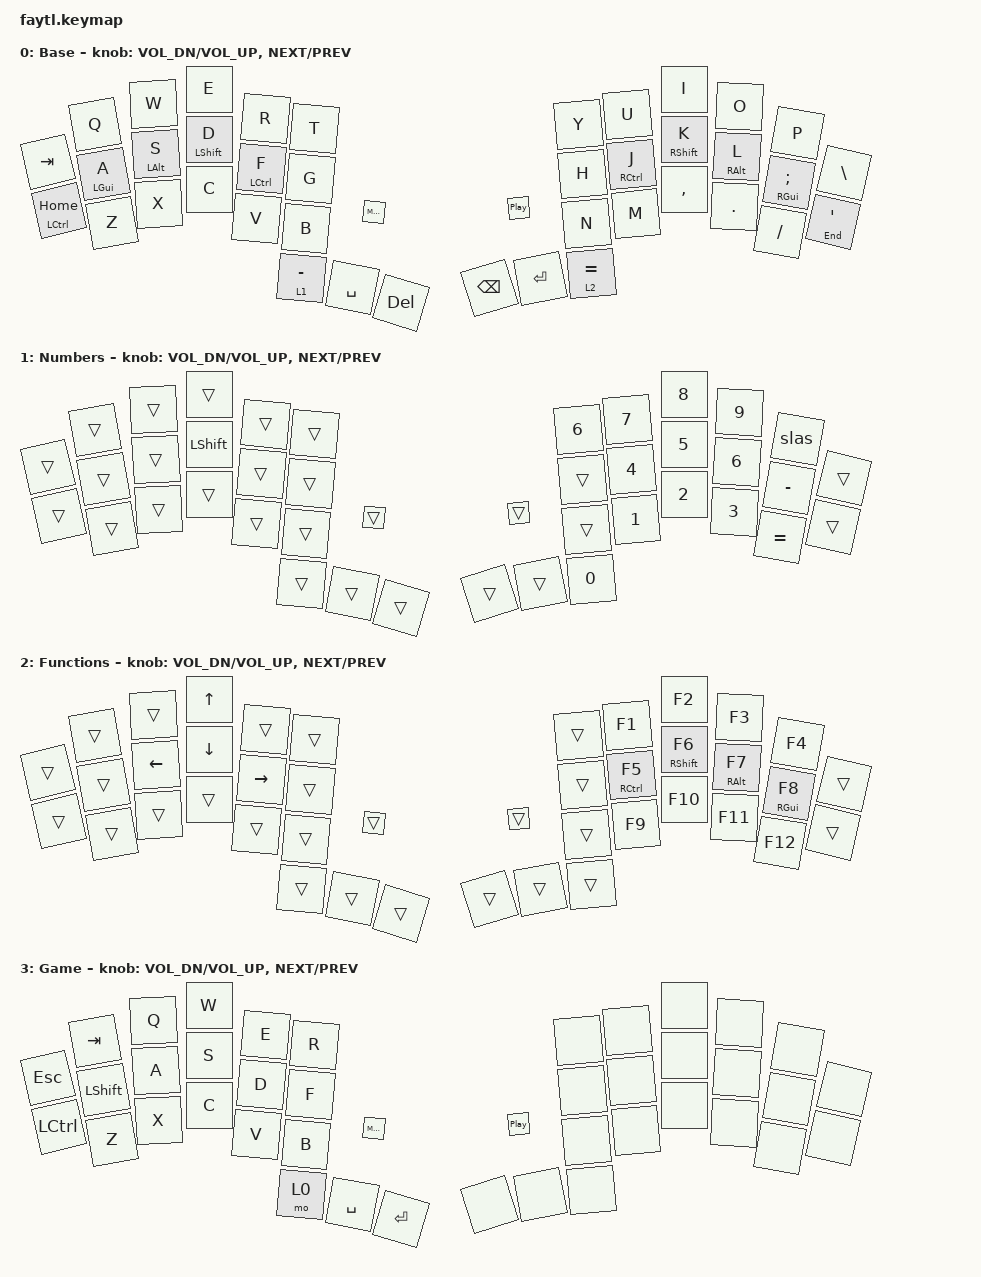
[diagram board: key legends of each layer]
// This file was generated from a template. Edit it to match your keyboard.
// See https://zmk.dev/docs/development/hardware-integration/new-shield for more instructions.

#include <behaviors.dtsi>
#include <dt-bindings/zmk/keys.h>

/ {
    behaviors {
        // set up home row mods
        hml: home_row_mod_left {
            compatible = "zmk,behavior-hold-tap";
            #binding-cells = <2>;
            flavor = "balances";
            require-prior-idle-ms = <150>;
            tapping-term-ms = <280>;
            quick-tap-ms = <175>;
            bindings = <&kp>, <&kp>;
            hold-trigger-key-positions = <6 7 8 9 10 17 18 19 20 21 22 30 31 32 33 34 35 36 40 41 42>; // List of keys on the right side of the keyboard
            hold-trigger-on-release;
        };
        hmr: home_row_mod_right {
            compatible = "zmk,behavior-hold-tap";
            #binding-cells = <2>;
            flavor = "balanced";
            require-prior-idle-ms = <150>;
            tapping-term-ms = <280>;
            quick-tap-ms = <175>;
            bindings = <&kp>, <&kp>;
            hold-trigger-key-positions = <1 2 3 4 5 11 12 13 14 15 16 23 24 25 26 27 28 29 37 38 39>; // List of keys on the left side of the keyboard
            hold-trigger-on-release;
        };
        // Create a / shift to *
        slas: slash_asterisk {
            compatible = "zmk,behavior-mod-morph";
            #binding-cells = <0>;
            bindings = <&kp SLASH>, <&kp STAR>;
            mods = <(MOD_LSFT|MOD_RSFT)>;
        };
        // Create an ESC GUI | ALT to GRAVE
        esgr: escape_grave {
            compatible = "zmk,behavior-mod-morph";
            #binding-cells = <0>;
            bindings = <&kp ESC>, <&kp GRAVE>;
            mods = <(MOD_LGUI|MOD_LALT|MOD_RGUI|MOD_RALT)>;
        };
    };

    // Define some combos
    combos {
        compatible = "zmk,combos";

        // First the escape key when Q and W are pressed together
        combo_esc {
            timeout-ms = <50>;
            key-positions = <0 1>;
            bindings = <&esgr>;
        };

        // Now a bunch of open and close brackets
        // (
        combo_open_paren {
            timeout-ms = <50>;
            key-positions = <3 4>;
            bindings = <&kp LPAR>;
        };
        // )
        combo_close_paren {
            timeout-ms = <50>;
            key-positions = <5 6>;
            bindings = <&kp RPAR>;
        };
        // {
        combo_open_curl {
            timeout-ms = <50>;
            key-positions = <14 15>;
            bindings = <&kp LBRC>;
        };
        // }
        combo_close_curl {
            timeout-ms = <50>;
            key-positions = <16 17>;
            bindings = <&kp RBRC>;
        };
        // [
        combo_open_bracket {
            timeout-ms = <50>;
            key-positions = <26 27>;
            bindings = <&kp LBKT>;
        };
        // ]
        combo_close_bracket {
            timeout-ms = <50>;
            key-positions = <30 31>;
            bindings = <&kp RBKT>;
        };

        // Create a toggle for turning game mode on and off
        combo_game_mode_ON {
            timeout-ms = <50>;
            key-positions = <36 37 38>;
            bindings = <&to 3>;
        };
        combo_game_mode_OFF {
            timeout-ms = <50>;
            key-positions = <39 40 41>;
            bindings = <&to 0>;
        };
    };

    keymap {
        compatible = "zmk,keymap";

        default_layer {
            display-name = "Base";
            bindings = <
        // LEFT SIDE
        // OUTER        PINKY       RING        MIDDLE      INDEX       INNER       ||          ||       INNER       INDEX      MIDDLE        RING       PINKY        OUTER
                        &kp Q       &kp W       &kp E       &kp R       &kp T                            &kp Y       &kp U      &kp I         &kp O      &kp P
           &kp TAB &hml LGUI A &hml LALT S &hml LSHIFT D &hml LCTRL F   &kp G                            &kp H   &hmr RCTRL J &hmr RSHIFT K &hmr RALT L &hmr RGUI SEMI &kp BSLH
        &mt LCTRL HOME  &kp Z       &kp X       &kp C       &kp V       &kp B    &kp C_MUTE   &kp C_PP   &kp N       &kp M      &kp COMMA     &kp PERIOD &kp SLASH    &mt END SQT
        // THUMBS                                INNER      MIDDLE       OUTER      ||          ||      OUTER       MIDDLE      INNER
                                               &lt 1 MINUS  &kp SPACE    &kp DEL                        &kp BSPC    &kp RET     &lt 2 EQUAL
            >;

            sensor-bindings = <&inc_dec_kp C_VOL_DN C_VOL_UP &inc_dec_kp C_NEXT C_PREV>;
        };

        number_layer {
            display-name = "Numbers";
            bindings = <
        // LEFT SIDE
        // OUTER        PINKY       RING        MIDDLE      INDEX       INNER       ||          ||       INNER       INDEX      MIDDLE        RING       PINKY        OUTER
                        &trans      &trans      &trans      &trans      &trans                           &kp N6      &kp N7     &kp N8        &kp N9     &slas
           &trans       &trans      &trans      &kp LSHIFT   &trans      &trans                           &trans      &kp N4     &kp N5        &kp N6     &kp MINUS    &trans
           &trans       &trans      &trans      &trans      &trans      &trans     &trans     &trans     &trans      &kp N1     &kp N2        &kp N3     &kp EQUAL    &trans
        // THUMBS                                INNER      MIDDLE       OUTER      ||          ||      OUTER       MIDDLE      INNER
                                                 &trans     &trans       &trans                         &trans      &trans      &kp N0
            >;

            sensor-bindings = <&inc_dec_kp C_VOL_DN C_VOL_UP &inc_dec_kp C_NEXT C_PREV>;
        };

        function_layer {
            display-name = "Functions";
            bindings = <
        // LEFT SIDE
        // OUTER        PINKY       RING        MIDDLE      INDEX       INNER       ||          ||       INNER       INDEX      MIDDLE        RING       PINKY        OUTER
                        &trans      &trans      &kp UP      &trans      &trans                           &trans      &kp F1     &kp F2        &kp F3     &kp F4     
           &trans       &trans      &kp LEFT    &kp DOWN    &kp RIGHT   &trans                           &trans &hmr RCTRL F5 &hmr RSHIFT F6 &hmr RALT F7 &hmr RGUI F8 &trans
           &trans       &trans      &trans      &trans      &trans      &trans   &trans       &trans     &trans      &kp F9     &kp F10       &kp F11    &kp F12      &trans
        // THUMBS
        //                                       INNER      MIDDLE       OUTER      ||          ||      OUTER       MIDDLE      INNER
                                                 &trans     &trans       &trans                         &trans      &trans      &trans
            >;

            sensor-bindings = <&inc_dec_kp C_VOL_DN C_VOL_UP &inc_dec_kp C_NEXT C_PREV>;
        };

        game_layer {
            display-name = "Game";
            bindings = <
        // LEFT SIDE
        // OUTER        PINKY       RING        MIDDLE      INDEX       INNER       ||          ||       INNER       INDEX      MIDDLE        RING       PINKY        OUTER
                        &kp TAB     &kp Q       &kp W       &kp E       &kp R                            &none       &none      &none         &none      &none
           &kp ESC      &kp LSHIFT  &kp A       &kp S       &kp D       &kp F                            &none       &none      &none         &none      &none        &none
           &kp LCTRL    &kp Z       &kp X       &kp C       &kp V       &kp B    &kp C_MUTE   &kp C_PP   &none       &none      &none         &none      &none        &none
        // THUMBS                                INNER      MIDDLE       OUTER      ||          ||      OUTER       MIDDLE      INNER
                                                 &mo 0      &kp SPACE    &kp RET                        &none       &none       &none
            >;

            sensor-bindings = <&inc_dec_kp C_VOL_DN C_VOL_UP &inc_dec_kp C_NEXT C_PREV>;
        };
    };
};
